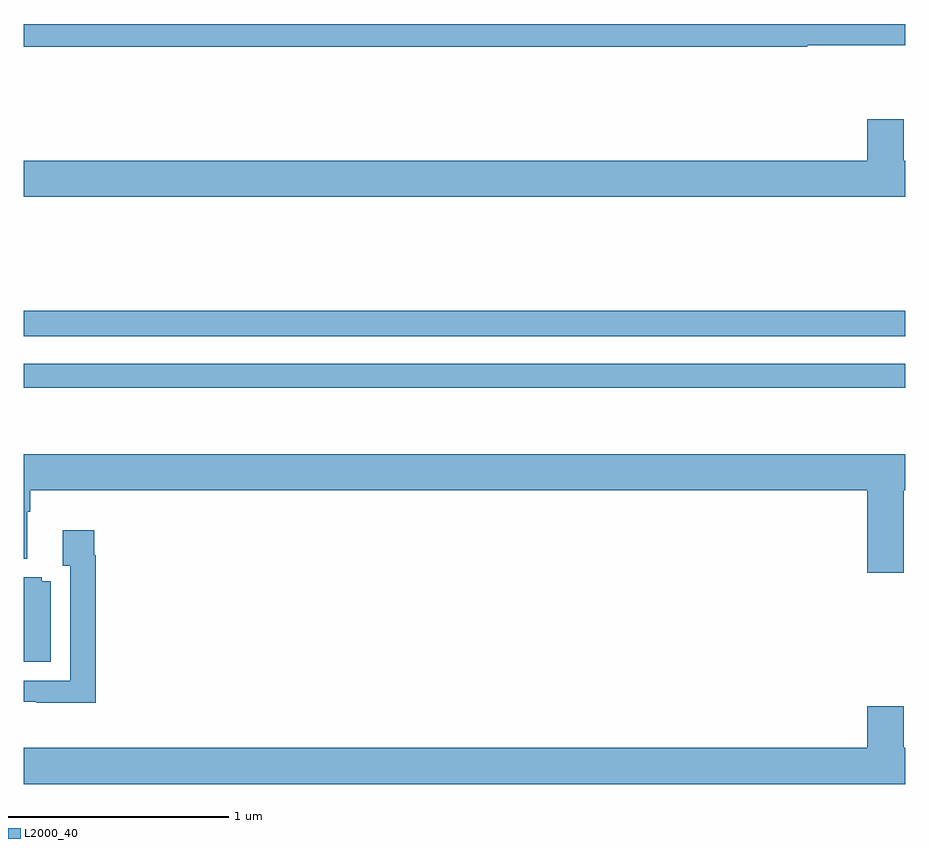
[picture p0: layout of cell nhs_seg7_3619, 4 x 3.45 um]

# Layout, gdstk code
import gdstk
lib = gdstk.Library(unit=1e-6, precision=1e-09)
def R(c, l, rs):  # rectangles x0, y0, x1, y1
    for r in rs: c.add(gdstk.rectangle(r[:2], r[2:], *l))
def P(c, l, *ps):  # polygons
    for p in ps: c.add(gdstk.Polygon(p, *l))
L2000_40 = (2000, 40)

nhs_seg7_3619 = lib.new_cell('nhs_seg7_3619')
R(nhs_seg7_3619, L2000_40, [(341,1066.35,345,1066.458), (341,1066.584,345,1066.7)])
P(nhs_seg7_3619, L2000_40, [(344.554,1067.904),(345,1067.904),(345,1068),(341,1068),(341,1067.896),(344.554,1067.896)],
  [(345,1067.38),(344.992,1067.38),(344.992,1067.569),(344.828,1067.569),(344.828,1067.38),(341,1067.38),(341,1067.216),(345,1067.216)],
  [(344.992,1065.884),(345,1065.884),(345,1066.048),(341,1066.048),(341,1065.575),(341.017,1065.575),(341.017,1065.788),(341.03,1065.788),(341.03,1065.884),(344.828,1065.884),(344.828,1065.51),(344.992,1065.51)],
  [(341.327,1065.59),(341.32,1065.59),(341.32,1065.703),(341.177,1065.703),(341.177,1065.542),(341.211,1065.542),(341.211,1065.021),(341,1065.021),(341,1064.925),(341.057,1064.925),(341.057,1064.921),(341.327,1064.921)],
  [(341.122,1065.472),(341.082,1065.472),(341.082,1065.49),(341,1065.49),(341,1065.106),(341.122,1065.106)],
  [(345,1064.716),(344.992,1064.716),(344.992,1064.905),(344.828,1064.905),(344.828,1064.716),(341,1064.716),(341,1064.552),(345,1064.552)])

lib.write_gds('nhs_seg7_3619.gds')
